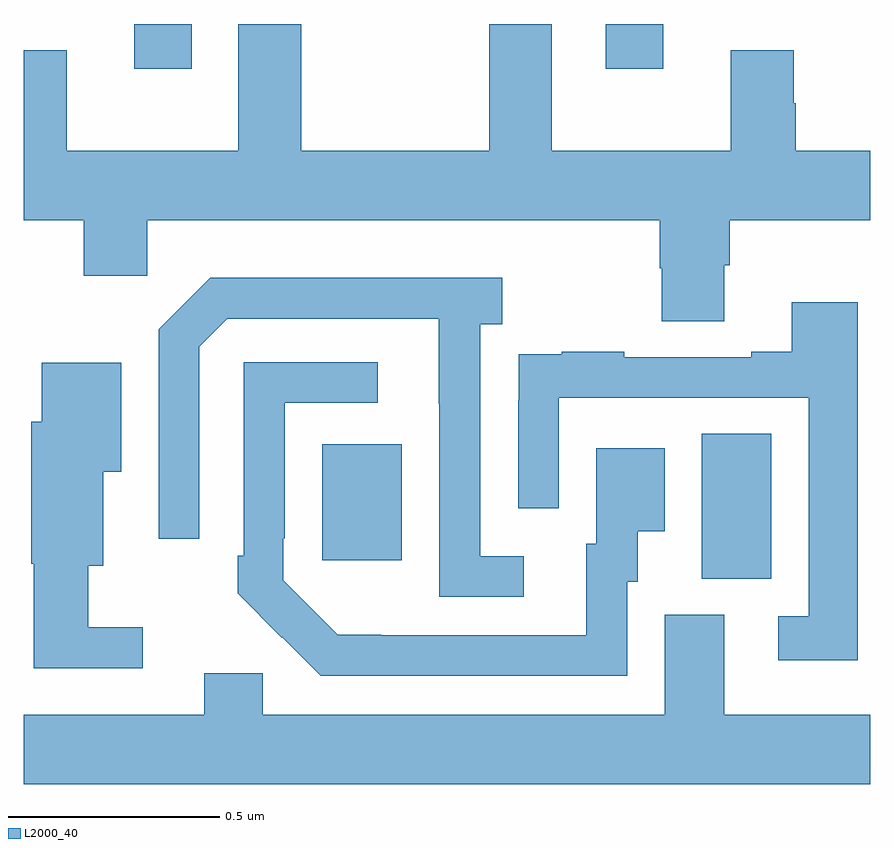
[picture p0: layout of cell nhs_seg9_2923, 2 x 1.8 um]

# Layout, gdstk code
import gdstk
lib = gdstk.Library(unit=1e-6, precision=1e-09)
def R(c, l, rs):  # rectangles x0, y0, x1, y1
    for r in rs: c.add(gdstk.rectangle(r[:2], r[2:], *l))
def P(c, l, *ps):  # polygons
    for p in ps: c.add(gdstk.Polygon(p, *l))
L2000_40 = (2000, 40)

nhs_seg9_2923 = lib.new_cell('nhs_seg9_2923')
R(nhs_seg9_2923, L2000_40, [(147.602,1246.189,147.766,1246.532), (146.705,1246.233,146.893,1246.507), (146.261,1247.394,146.397,1247.5), (147.375,1247.394,147.511,1247.5)])
P(nhs_seg9_2923, L2000_40, [(147.655,1246.93),(147.668,1246.93),(147.668,1247.036),(148,1247.036),(148,1247.2),(147.824,1247.2),(147.824,1247.313),(147.819,1247.313),(147.819,1247.438),(147.671,1247.438),(147.671,1247.2),(147.247,1247.2),(147.247,1247.5),(147.1,1247.5),(147.1,1247.2),(146.655,1247.2),(146.655,1247.5),(146.507,1247.5),(146.507,1247.2),(146.101,1247.2),(146.101,1247.438),(146,1247.438),(146,1247.036),(146.141,1247.036),(146.141,1246.905),(146.292,1246.905),(146.292,1247.036),(147.503,1247.036),(147.503,1246.923),(147.508,1246.923),(147.508,1246.798),(147.655,1246.798)],
  [(147.181,1246.242),(147.078,1246.242),(147.078,1246.79),(147.13,1246.79),(147.13,1246.9),(146.44,1246.9),(146.319,1246.779),(146.319,1246.284),(146.415,1246.284),(146.415,1246.737),(146.481,1246.803),(146.981,1246.803),(146.981,1246.603),(146.982,1246.603),(146.982,1246.146),(147.181,1246.146)],
  [(147.971,1246.843),(147.815,1246.843),(147.815,1246.726),(147.719,1246.726),(147.719,1246.713),(147.419,1246.713),(147.419,1246.726),(147.271,1246.726),(147.271,1246.719),(147.169,1246.719),(147.169,1246.61),(147.168,1246.61),(147.168,1246.356),(147.264,1246.356),(147.264,1246.617),(147.855,1246.617),(147.855,1246.101),(147.783,1246.101),(147.783,1245.996),(147.971,1245.996)],
  [(147.426,1246.182),(147.451,1246.182),(147.451,1246.301),(147.514,1246.301),(147.514,1246.498),(147.353,1246.498),(147.353,1246.272),(147.329,1246.272),(147.329,1246.056),(146.845,1246.056),(146.845,1246.057),(146.742,1246.057),(146.613,1246.185),(146.613,1246.285),(146.616,1246.285),(146.616,1246.605),(146.836,1246.605),(146.836,1246.701),(146.52,1246.701),(146.52,1246.243),(146.505,1246.243),(146.505,1246.155),(146.61,1246.05),(146.611,1246.051),(146.702,1245.96),(147.426,1245.96)],
  [(146.281,1246.075),(146.152,1246.075),(146.152,1246.22),(146.188,1246.22),(146.188,1246.442),(146.23,1246.442),(146.23,1246.699),(146.042,1246.699),(146.042,1246.56),(146.018,1246.56),(146.018,1246.224),(146.023,1246.224),(146.023,1245.978),(146.281,1245.978)],
  [(148,1245.868),(147.655,1245.868),(147.655,1246.104),(147.515,1246.104),(147.515,1245.868),(146.565,1245.868),(146.565,1245.966),(146.426,1245.966),(146.426,1245.868),(146,1245.868),(146,1245.704),(148,1245.704)])

lib.write_gds('nhs_seg9_2923.gds')
